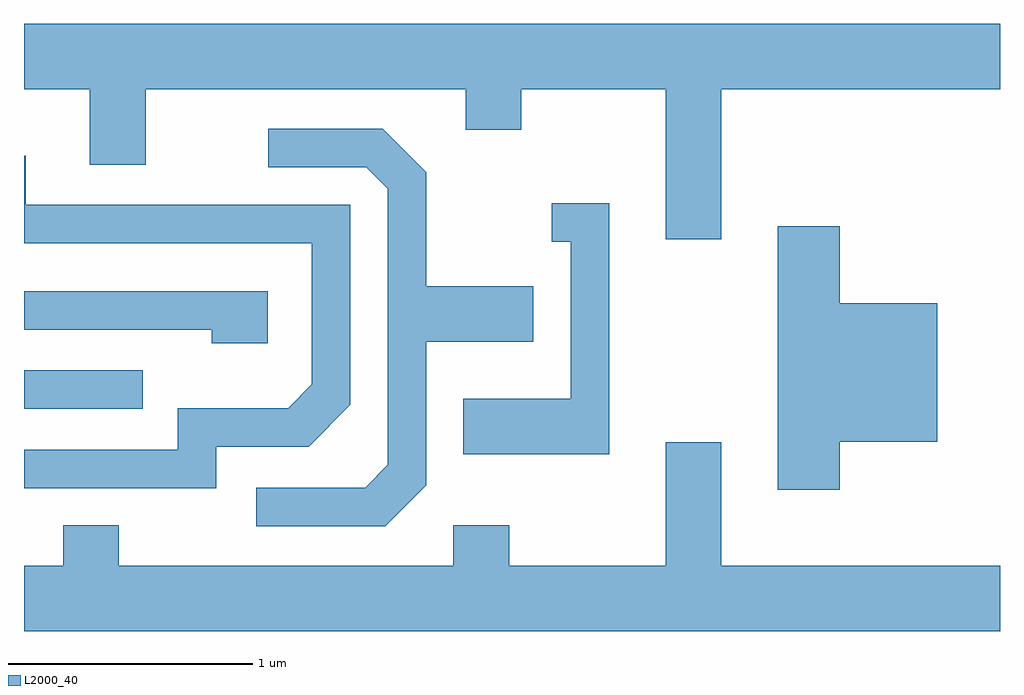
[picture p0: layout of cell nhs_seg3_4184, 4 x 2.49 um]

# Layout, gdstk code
import gdstk
lib = gdstk.Library(unit=1e-6, precision=1e-09)
def R(c, l, rs):  # rectangles x0, y0, x1, y1
    for r in rs: c.add(gdstk.rectangle(r[:2], r[2:], *l))
def P(c, l, *ps):  # polygons
    for p in ps: c.add(gdstk.Polygon(p, *l))
L2000_40 = (2000, 40)

nhs_seg3_4184 = lib.new_cell('nhs_seg3_4184')
R(nhs_seg3_4184, L2000_40, [(307.611,1189.086,308.098,1189.244)])
P(nhs_seg3_4184, L2000_40, [(310.469,1190.396),(311.611,1190.396),(311.611,1190.664),(307.611,1190.664),(307.611,1190.396),(307.881,1190.396),(307.881,1190.086),(308.109,1190.086),(308.109,1190.396),(309.421,1190.396),(309.421,1190.231),(309.649,1190.231),(309.649,1190.396),(310.241,1190.396),(310.241,1189.781),(310.469,1189.781)],
  [(309.259,1188.774),(309.259,1189.361),(309.699,1189.361),(309.699,1189.589),(309.259,1189.589),(309.259,1190.057),(309.082,1190.234),(308.613,1190.234),(308.613,1190.076),(309.014,1190.076),(309.101,1189.989),(309.101,1188.857),(309.009,1188.764),(308.563,1188.764),(308.563,1188.606),(309.092,1188.606)],
  [(308.399,1188.931),(308.777,1188.931),(308.949,1189.104),(308.949,1189.924),(307.619,1189.924),(307.619,1190.123),(307.611,1190.123),(307.611,1189.766),(308.791,1189.766),(308.791,1189.187),(308.694,1189.089),(308.241,1189.089),(308.241,1188.919),(307.611,1188.919),(307.611,1188.761),(308.399,1188.761)],
  [(310.009,1189.929),(309.773,1189.929),(309.773,1189.771),(309.851,1189.771),(309.851,1189.129),(309.411,1189.129),(309.411,1188.901),(310.009,1188.901)],
  [(310.954,1188.951),(311.354,1188.951),(311.354,1189.519),(310.954,1189.519),(310.954,1189.834),(310.701,1189.834),(310.701,1188.756),(310.954,1188.756)],
  [(308.609,1189.569),(307.611,1189.569),(307.611,1189.411),(308.381,1189.411),(308.381,1189.356),(308.609,1189.356)],
  [(311.611,1188.444),(310.469,1188.444),(310.469,1188.949),(310.241,1188.949),(310.241,1188.444),(309.599,1188.444),(309.599,1188.609),(309.371,1188.609),(309.371,1188.444),(307.999,1188.444),(307.999,1188.609),(307.771,1188.609),(307.771,1188.444),(307.611,1188.444),(307.611,1188.176),(311.611,1188.176)])

lib.write_gds('nhs_seg3_4184.gds')
